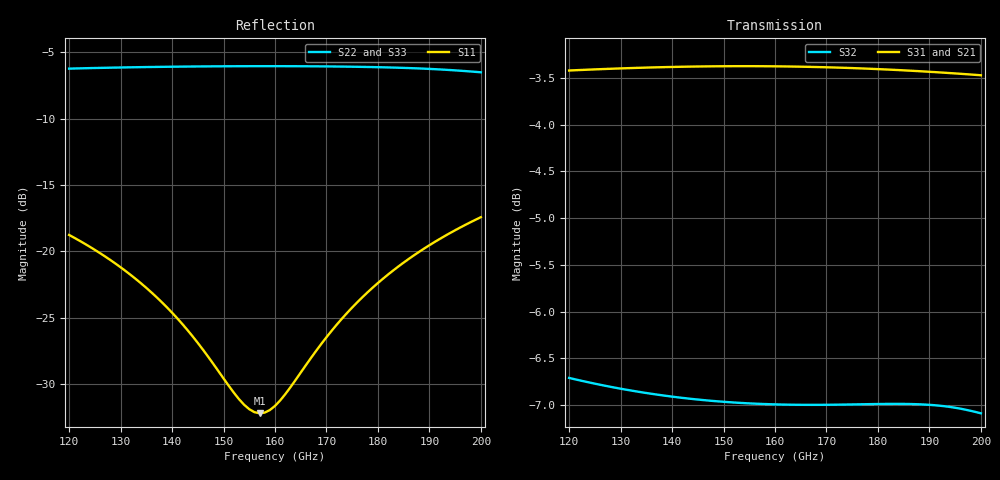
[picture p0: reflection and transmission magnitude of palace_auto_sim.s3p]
#  GHZ S DB R 50
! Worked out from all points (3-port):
!   81 points, 120 GHz to 200 GHz, reference 50 ohm
!   strongest paths, dB at 120 GHz, 140 GHz, 160 GHz, 180 GHz, 200 GHz:
!     S31: -3.4, -3.4, -3.4, -3.4, -3.5
!     S21: -3.4, -3.4, -3.4, -3.4, -3.5
!     S32: -6.7, -6.9, -7.0, -7.0, -7.1
!   lowest |S11| = -32.2 dB at 157 GHz (marker M1), VSWR 1.05, Z = 52.5 + j0.031 ohm
!   |S11| at or under -10 dB: start of sweep to end of sweep
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120  -18.76 100.1  -3.43 -67.6  -3.42 -67.6
     -3.43 -67.6  -6.22 18.5  -6.71 -140.8
     -3.42 -67.6  -6.71 -140.8  -6.23 18.5
137  -23.46 80.6  -3.39 -77.7  -3.39 -77.7
     -3.39 -77.7  -6.09 7.8  -6.89 -158.1
     -3.39 -77.7  -6.89 -158.1  -6.10 7.8
144  -26.41 66.9  -3.38 -81.9  -3.38 -81.9
     -3.38 -81.9  -6.06 3.6  -6.94 -165.2
     -3.38 -81.9  -6.94 -165.2  -6.07 3.5
153  -31.14 30.1  -3.38 -87.3  -3.38 -87.3
     -3.38 -87.3  -6.04 -1.8  -6.98 -174.3
     -3.38 -87.3  -6.98 -174.3  -6.05 -1.8
157  -32.21 0.7  -3.38 -89.7  -3.38 -89.7
     -3.38 -89.7  -6.04 -4.1  -6.99 -178.4
     -3.38 -89.7  -6.99 -178.4  -6.04 -4.2
160  -31.65 -22.4  -3.38 -91.5  -3.38 -91.5
     -3.38 -91.5  -6.04 -5.9  -6.99 178.6
     -3.38 -91.5  -6.99 178.6  -6.04 -5.9
171  -25.99 -69.5  -3.39 -98.0  -3.39 -98.1
     -3.39 -98.0  -6.06 -12.4  -7.00 167.3
     -3.39 -98.1  -7.00 167.3  -6.07 -12.4
178  -23.08 -82.6  -3.40 -102.2  -3.40 -102.3
     -3.40 -102.2  -6.10 -16.6  -6.99 160.1
     -3.40 -102.3  -6.99 160.1  -6.11 -16.7
188  -20.04 -94.9  -3.43 -108.2  -3.43 -108.2
     -3.43 -108.2  -6.21 -22.8  -6.99 149.6
     -3.43 -108.2  -6.99 149.6  -6.22 -22.9
200  -17.42 -105.9  -3.47 -115.4  -3.47 -115.4
     -3.47 -115.4  -6.50 -30.0  -7.09 137.2
     -3.47 -115.4  -7.09 137.2  -6.51 -30.1
